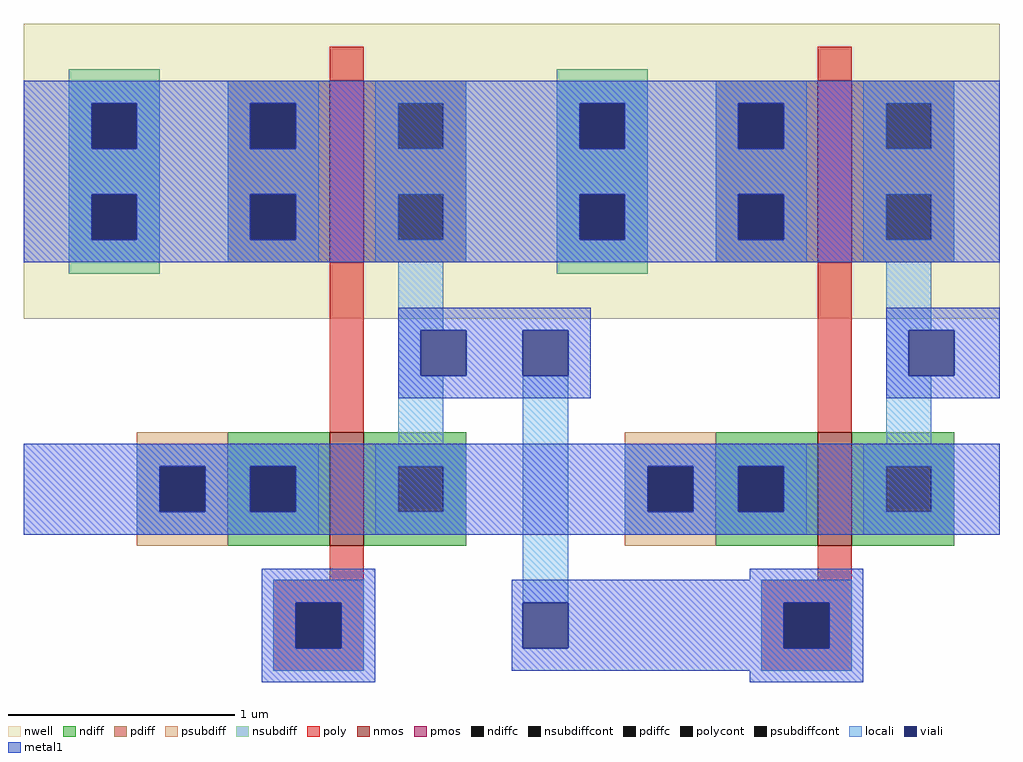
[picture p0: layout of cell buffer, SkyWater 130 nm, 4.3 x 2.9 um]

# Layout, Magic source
magic
tech sky130A
<< locali >>
rect 200 5 220 105
<< viali >>
rect 200 105 220 125
rect 200 -15 220 5
<< metal1 >>
rect -20 155 0 235
rect 185 125 230 135
rect 185 105 200 125
rect 220 105 230 125
rect 185 95 230 105
rect 390 95 410 135
rect -20 35 0 75
rect 195 5 300 15
rect 195 -15 200 5
rect 220 -15 300 5
rect 195 -25 300 -15
use inverter1  inverter1_0
transform 1 0 120 0 1 50
box -140 -80 75 210
use inverter1  inverter1_1
transform 1 0 335 0 1 50
box -140 -80 75 210
<< end >>

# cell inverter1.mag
magic
tech sky130A
<< nwell >>
rect -140 80 75 210
<< nmos >>
rect -5 -20 10 30
<< pmos >>
rect -5 105 10 185
<< ndiff >>
rect -50 15 -5 30
rect -50 -5 -40 15
rect -20 -5 -5 15
rect -50 -20 -5 -5
rect 10 15 55 30
rect 10 -5 25 15
rect 45 -5 55 15
rect 10 -20 55 -5
<< pdiff >>
rect -50 175 -5 185
rect -50 155 -40 175
rect -20 155 -5 175
rect -50 135 -5 155
rect -50 115 -40 135
rect -20 115 -5 135
rect -50 105 -5 115
rect 10 175 55 185
rect 10 155 25 175
rect 45 155 55 175
rect 10 135 55 155
rect 10 115 25 135
rect 45 115 55 135
rect 10 105 55 115
<< ndiffc >>
rect -40 -5 -20 15
rect 25 -5 45 15
<< pdiffc >>
rect -40 155 -20 175
rect -40 115 -20 135
rect 25 155 45 175
rect 25 115 45 135
<< psubdiff >>
rect -90 15 -50 30
rect -90 -5 -80 15
rect -60 -5 -50 15
rect -90 -20 -50 -5
<< nsubdiff >>
rect -120 175 -80 190
rect -120 155 -110 175
rect -90 155 -80 175
rect -120 135 -80 155
rect -120 115 -110 135
rect -90 115 -80 135
rect -120 100 -80 115
<< psubdiffcont >>
rect -80 -5 -60 15
<< nsubdiffcont >>
rect -110 155 -90 175
rect -110 115 -90 135
<< poly >>
rect -5 185 10 200
rect -5 30 10 105
rect -5 -35 10 -20
rect -30 -45 10 -35
rect -30 -65 -20 -45
rect 0 -65 10 -45
rect -30 -75 10 -65
<< polycont >>
rect -20 -65 0 -45
<< locali >>
rect -120 175 -80 185
rect -120 155 -110 175
rect -90 155 -80 175
rect -120 135 -80 155
rect -120 115 -110 135
rect -90 115 -80 135
rect -120 105 -80 115
rect -50 175 -10 185
rect -50 155 -40 175
rect -20 155 -10 175
rect -50 135 -10 155
rect -50 115 -40 135
rect -20 115 -10 135
rect -50 105 -10 115
rect 15 175 55 185
rect 15 155 25 175
rect 45 155 55 175
rect 15 135 55 155
rect 15 115 25 135
rect 45 115 55 135
rect 15 105 55 115
rect 25 75 45 105
rect 25 55 35 75
rect 25 25 45 55
rect -90 15 -10 25
rect -90 -5 -80 15
rect -60 -5 -40 15
rect -20 -5 -10 15
rect -90 -15 -10 -5
rect 15 15 55 25
rect 15 -5 25 15
rect 45 -5 55 15
rect 15 -15 55 -5
rect -30 -45 10 -35
rect -30 -65 -20 -45
rect 0 -65 10 -45
rect -30 -75 10 -65
<< viali >>
rect -110 155 -90 175
rect -110 115 -90 135
rect -40 155 -20 175
rect -40 115 -20 135
rect 35 55 55 75
rect -80 -5 -60 15
rect -40 -5 -20 15
rect -20 -65 0 -45
<< metal1 >>
rect -140 175 75 185
rect -140 155 -110 175
rect -90 155 -40 175
rect -20 155 75 175
rect -140 135 75 155
rect -140 115 -110 135
rect -90 115 -40 135
rect -20 115 75 135
rect -140 105 75 115
rect 25 75 65 85
rect 25 55 35 75
rect 55 55 65 75
rect 25 45 65 55
rect -140 15 75 25
rect -140 -5 -80 15
rect -60 -5 -40 15
rect -20 -5 75 15
rect -140 -15 75 -5
rect -35 -45 15 -30
rect -35 -65 -20 -45
rect 0 -65 15 -45
rect -35 -80 15 -65
<< labels >>
rlabel metal1 -140 5 -140 5 7 GND
port 2 w
rlabel metal1 65 65 65 65 3 Y
port 3 e
rlabel metal1 -35 -55 -35 -55 7 A
port 4 w
rlabel metal1 -140 150 -140 150 7 VDD
port 1 w
<< end >>
